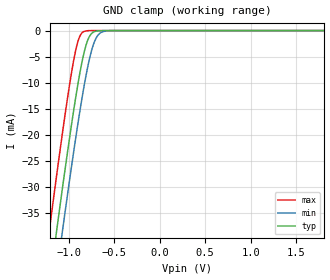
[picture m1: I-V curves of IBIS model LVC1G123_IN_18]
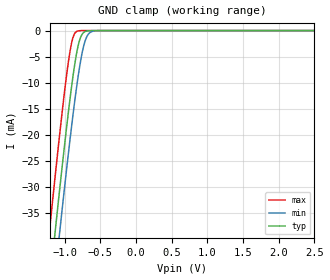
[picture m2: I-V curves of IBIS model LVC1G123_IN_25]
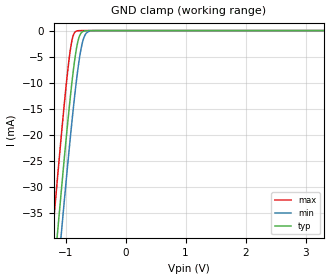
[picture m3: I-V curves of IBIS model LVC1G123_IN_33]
| TEXAS INSTRUMENTS INCORPORATED
| Standard Linear and Logic Group
| IBIS Model of SN74LVC1G123
| SINGLE RETRIGGERABLE MONOSTABLE MULTIVIBRATOR WITH SCHMITT-TRIGGER
| INPUTS
| This file contains package information for the following:
|  TSSOP 8-pin (DCU) package as [Component] LVC1G123_DCU
|  TSSOP 8-pin (DCT) package as [Component] LVC1G123_DCT
|  DSBGA 8-pin (YEP_YZP) package as [Component] LVC1G123_YEP_YZP
| This device can be powered at the following Vccs:
|  1.8 volt Vcc
|  2.5 volt Vcc
|  3.3 volt Vcc
|  5 volt Vcc
| This file provides unique models under the [Model Selector] for each Vcc.
| For operation at a specific Vcc, select the appropriate model after each
| [Model Selector] keyword.
[IBIS Ver]   3.2
[Comment char]  |_char
[File Name]   sn74lvc1g123.ibs
[File Rev]   1.1 | x_die
[Date]   February 17, 2004
[Source]   Data created from TI-SPICE simulations at TI-SLL.
[Notes]   The following is an IBIS list for the LVC1G123.
   Please contact sllibis@ti.com with questions and
   comments concerning SLL IBIS models.
   - FILE REV HISTORY
   - 1.1 Release IBIS file on 04/02/04
   - YEP and YZP packages are package preview only at this date.
   - Power clamp data deleted as there is no power-clamp diode.
   - Due to the fact that the Device is 5.5-V Input tolarent,
   the pulldown model has some Non-Monotonic Warnings.
[Disclaimer] Property of Texas Instruments Incorporated.  Unauthorized
                reproduction and/or distribution is strictly prohibited.
                This product is protected under copyright law.
                Created  2003, (C) Copyright  2003, Texas Instruments
                Incorporated, All Rights Reserved
                UNLESS THERE IS A SIGNED, WRITTEN AGREEMENT TO THE
                CONTRARY, TEXAS INSTRUMENTS (TI) IS PROVIDING THE IBIS
                MODELS  AND WITHOUT ANY WARRANTY, EXPRESSED OR
                IMPLIED.  TI assumes no liability for:
                 1) the accuracy of the IBIS models provided to your
                    company;
                 2) the proper functioning of these IBIS Models in your
                    design or for any resulting applications; or
                 3) infringement of patents, copyrights or intellectual
                    property rights resulting from your use of these IBIS
                    models.
                TI provides IBIS Models as a service to our customers.
                You and your company shall not distribute, sell or give
                these models to anyone else without prior written
                permission from TI.
                TI reserves the right to make changes to our products or
                to discontinue any semiconductor product or service
                without notice, and advises our customers to obtain the
                latest version of relevant information to verify, before
                placing orders, that the information being relied on is
                current.
                Please be aware that your receipt and use of the IBIS
                information provided shall serve as acceptance of these
                terms and conditions.  If you do not accept these terms,
                you should return or destroy the IBIS models and any
                other accompanying information immediately.
| Component LVC1G123_DCU 8-pin TSSOP
[Component]   LVC1G123_DCU
[Manufacturer]   Texas Instruments, Inc.
[Package]
|   typ   min   max
R_pkg   1.400e-02   1.300e-02   1.500e-02
L_pkg   1.289e-09   1.025e-09   2.014e-09
C_pkg   1.360e-13   6.600e-14   2.940e-13
[Pin]   signal_name   model_name   R_pin   L_pin   C_pin
1   NA   LVC1G123_IN   1.400e-02   1.387e-09   1.760e-13
2   B   LVC1G123_IN   1.300e-02   1.026e-09   6.600e-14
3   NCLR   LVC1G123_IN   1.300e-02   1.032e-09   6.700e-14
4   GND   GND   1.500e-02   2.014e-09   2.940e-13
5   Q   LVC1G123_OUT   1.400e-02   1.412e-09   1.780e-13
6   CX   LVC1G123_IN   1.300e-02   1.030e-09   6.600e-14
7   RX_CX   LVC1G123_OUT   1.300e-02   1.025e-09   6.600e-14
8   VCC   POWER   1.400e-02   1.386e-09   1.760e-13
| Component LVC1G123_DCT 8-pin TSSOP
[Component]   LVC1G123_DCT
[Manufacturer]   Texas Instruments, Inc.
[Package]
|   typ   min   max
R_pkg   2.900e-02   2.800e-02   3.100e-02
L_pkg   1.796e-09   1.666e-09   1.924e-09
C_pkg   1.090e-13   8.300e-14   1.360e-13
[Pin]   signal_name   model_name   R_pin   L_pin   C_pin
1   NA   LVC1G123_IN   3.100e-02   1.894e-09   1.340e-13
2   B   LVC1G123_IN   2.800e-02   1.697e-09   8.600e-14
3   NCLR   LVC1G123_IN   3.000e-02   1.722e-09   8.600e-14
4   GND   GND   3.000e-02   1.861e-09   1.300e-13
5   Q   LVC1G123_OUT   2.800e-02   1.924e-09   1.360e-13
6   CX   LVC1G123_IN   2.900e-02   1.736e-09   8.600e-14
7   RX_CX   LVC1G123_OUT   2.800e-02   1.666e-09   8.300e-14
8   VCC   POWER   3.000e-02   1.871e-09   1.320e-13
| Component LVC1G123_YEP_YZP 8-pin DSBGA
[Component]   LVC1G123_YEP_YZP
[Manufacturer]   Texas Instruments, Inc.
[Package]
|   typ   min   max
R_pkg   1.000e-03   1.000e-03   4.000e-03
L_pkg   6.400e-11   2.400e-11   3.790e-10
C_pkg   5.800e-14   0.000e+00   6.700e-14
[Pin]   signal_name   model_name   R_pin   L_pin   C_pin
1   NA   LVC1G123_IN   1.000e-03   2.500e-11   6.400e-14
2   B   LVC1G123_IN   1.000e-03   2.400e-11   6.700e-14
3   NCLR   LVC1G123_IN   1.000e-03   2.400e-11   6.700e-14
4   GND   GND   1.000e-03   2.500e-11   6.400e-14
5   Q   LVC1G123_OUT   1.000e-03   2.500e-11   6.400e-14
6   CX   LVC1G123_IN   1.000e-03   2.400e-11   6.700e-14
7   RX_CX   LVC1G123_OUT   1.000e-03   2.400e-11   6.700e-14
8   VCC   POWER   1.000e-03   2.500e-11   6.400e-14
| Model LVC1G123_IN
[Model Selector]   LVC1G123_IN
LVC1G123_IN_18   1.8 volt Vcc
LVC1G123_IN_25   2.5 volt Vcc
LVC1G123_IN_33   3.3 volt Vcc
LVC1G123_IN_50   5 volt Vcc
| Model LVC1G123_OUT
[Model Selector]   LVC1G123_OUT
LVC1G123_OUT_18   1.8 volt Vcc
LVC1G123_OUT_25   2.5 volt Vcc
LVC1G123_OUT_33   3.3 volt Vcc
LVC1G123_OUT_50   5 volt Vcc
| Models and submodels in the file (8): LVC1G123_IN_18 (Input), LVC1G123_IN_25 (Input), LVC1G123_IN_33 (Input), LVC1G123_IN_50 (Input), LVC1G123_OUT_18 (Output), LVC1G123_OUT_25 (Output), LVC1G123_OUT_33 (Output), LVC1G123_OUT_50 (Output)
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[Model]   LVC1G123_IN_18
Model_type  Input
Vinl=0.5775
Vinh=1.2675
| variable   typ   min   max
C_comp   3.10pF   2.61pF   3.77pF
[Temperature Range]   40   100   -40
| Ambient temperature   25   85   -40
[Voltage range]   1.8   1.65   1.95
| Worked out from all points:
|   GND clamp passes 1 mA (typ) near -0.77 V on its own axis
[GND Clamp]
| LVC1G123_IN_18
|   Voltage   I(typ)   I(min)   I(max)
-5.5V     -655.2mA   -662.2mA   -646.6mA
-1.215V   -49.6mA    -57.88mA   -38.96mA
-1.135V   -39.07mA   -47.36mA   -28.42mA
-1.075V   -31.35mA   -39.6mA    -20.75mA
-1.055V   -28.82mA   -37.05mA   -18.27mA
-955mV    -16.68mA   -24.66mA   -6.874mA
-885mV    -9.098mA   -16.55mA   -1.486mA
-825mV    -3.922mA   -10.26mA   -137.1uA
-780mV    -1.472mA   -6.227mA   -17.15uA
-715mV    -205.4uA   -2.128mA   -808.5nA
-650mV    -22.01uA   -443.9uA   -37.93nA
1.8V      3.326pA    6.142pA    3.026pA
[Model]   LVC1G123_IN_25
Model_type  Input
Vinl=0.7
Vinh=1.7
| variable   typ   min   max
C_comp   3.00pF   2.46pF   3.78pF
[Temperature Range]   40   100   -40
| Ambient temperature   25   85   -40
[Voltage range]   2.5   2.3   2.7
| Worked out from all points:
|   GND clamp passes 1 mA (typ) near -0.77 V on its own axis
[GND Clamp]
| LVC1G123_IN_25
|   Voltage   I(typ)   I(min)   I(max)
-5.5V     -655.2mA   -662.2mA   -646.6mA
-1.215V   -49.6mA    -57.88mA   -38.96mA
-1.14V    -39.72mA   -48.01mA   -29.07mA
-1.12V    -37.12mA   -45.41mA   -26.48mA
-1.08V    -31.98mA   -40.25mA   -21.38mA
-1.06V    -29.44mA   -37.69mA   -18.89mA
-960mV    -17.26mA   -25.26mA   -7.377mA
-890mV    -9.597mA   -17.1mA    -1.734mA
-785mV    -1.671mA   -6.635mA   -21.67uA
-720mV    -242.5uA   -2.354mA   -1.023uA
-650mV    -22.01uA   -443.9uA   -37.93nA
2.5V      4.713pA    7.577pA    4.389pA
[Model]   LVC1G123_IN_33
Model_type  Input
Vinl=0.8
Vinh=2.0
| variable   typ   min   max
C_comp   2.91pF   2.35pF   3.80pF
[Temperature Range]   40   100   -40
| Ambient temperature   25   85   -40
[Voltage range]   3.3   3   3.6
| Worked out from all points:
|   GND clamp passes 1 mA (typ) near -0.77 V on its own axis
[GND Clamp]
| LVC1G123_IN_33
|   Voltage   I(typ)   I(min)   I(max)
-5.5V     -655.2mA   -662.2mA   -646.6mA
-1.225V   -50.93mA   -59.21mA   -40.3mA
-1.145V   -40.37mA   -48.66mA   -29.72mA
-1.12V    -37.12mA   -45.41mA   -26.48mA
-1.08V    -31.98mA   -40.25mA   -21.38mA
-1.06V    -29.44mA   -37.69mA   -18.89mA
-965mV    -17.84mA   -25.87mA   -7.89mA
-885mV    -9.098mA   -16.55mA   -1.486mA
-780mV    -1.472mA   -6.227mA   -17.15uA
-715mV    -205.4uA   -2.128mA   -808.5nA
-640mV    -15.53uA   -338.1uA   -23.69nA
3.3V      6.304pA    9.258pA    5.93pA
